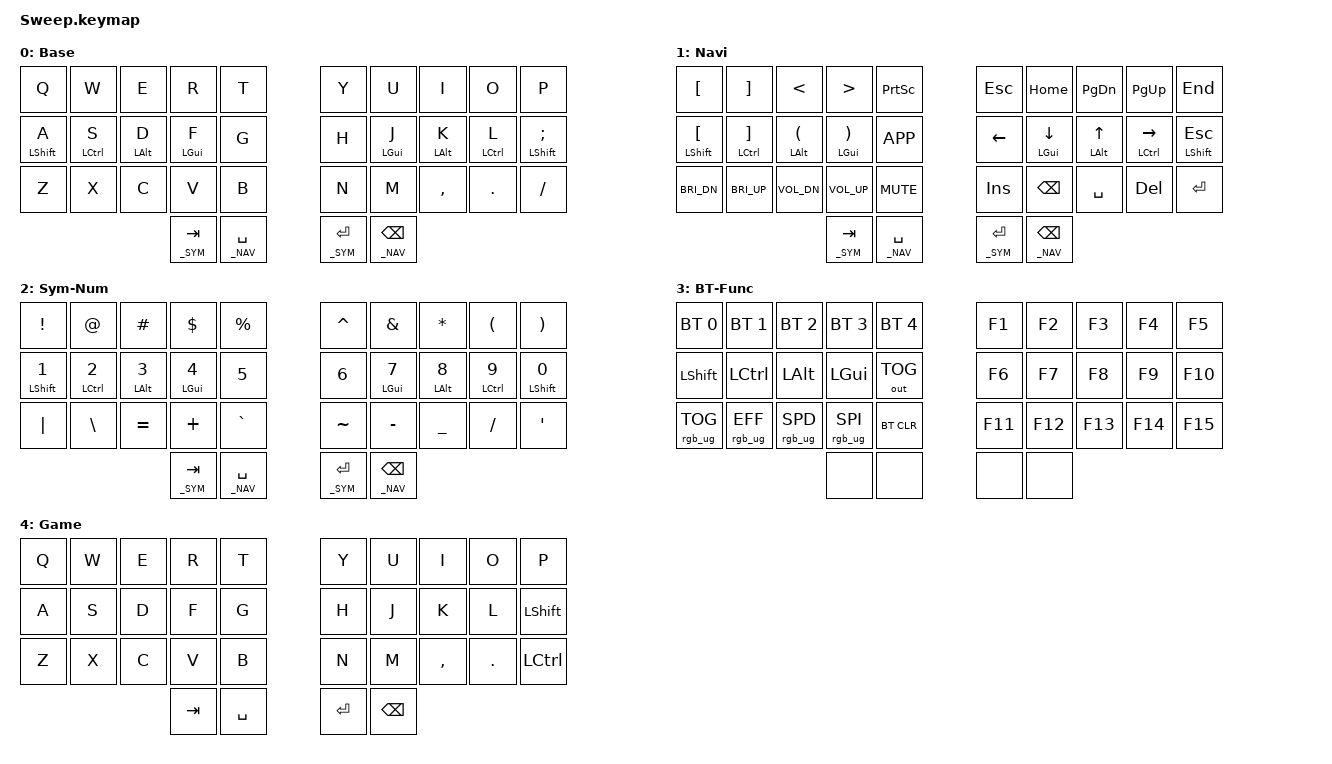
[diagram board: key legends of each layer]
/*
 * Copyright (c) 2021 The ZMK Contributors
 *
 * SPDX-License-Identifier: MIT
 */

#include <behaviors.dtsi>
#include <dt-bindings/zmk/keys.h>
#include <dt-bindings/zmk/bt.h>
#include <dt-bindings/zmk/rgb.h>
#include <dt-bindings/zmk/outputs.h>
#include "keypos_34keys.h"

#define _BASE    0
#define _NAV     1
#define _SYM     2
#define _BTF     3
#define _GAME    4

#define RGB_BASE RGB_COLOR_HSB(0,100,4)
#define RGB_SYM RGB_COLOR_HSB(40,100,4)
#define RGB_NAV RGB_COLOR_HSB(130,100,5)
#define RGB_BTF RGB_COLOR_HSB(230,100,5)
#define RGB_GAME RGB_COLOR_HSB(80,180, 40)

&sk {
    quick-release;
};

/ {
// ------------------------- MACROS --------------------------------
    macros {
        to_BASE: to_BASE {
            compatible = "zmk,behavior-macro";
            #binding-cells = <0>;
            wait-ms = <0>;
            tap-ms = <0>;
            bindings
                = <&rgb_ug RGB_OFF>
                , <&to _BASE>
                ;
        };

        to_NAV: to_NAV {
            compatible = "zmk,behavior-macro";
            #binding-cells = <0>;
            wait-ms = <0>;
            tap-ms = <0>;
            bindings
                = <&rgb_ug RGB_ON>
                , <&rgb_ug RGB_NAV>
                , <&to _NAV>
                ;
        };

        to_GAME: to_GAME {
            compatible = "zmk,behavior-macro";
            #binding-cells = <0>;
            wait-ms = <0>;
            tap-ms = <0>;
            bindings
                = <&rgb_ug RGB_ON>
                , <&rgb_ug RGB_GAME>
                , <&to _GAME>
                ;
        };

        mo_BTF: mo_BTF {
            compatible = "zmk,behavior-macro";
            #binding-cells = <0>;
            wait-ms = <0>;
            tap-ms = <0>;
            bindings
                = <&macro_tap &rgb_ug RGB_ON>
                , <&macro_tap &rgb_ug RGB_BTF>
                , <&macro_press &mo _BTF>
                , <&macro_pause_for_release>
                , <&macro_tap &rgb_ug RGB_OFF>
                , <&macro_release &mo _BTF>
                ;
        };

        to_BOOT: to_BOOT {
            compatible = "zmk,behavior-macro";
            #binding-cells = <0>;
            bindings
                = <&rgb_ug RGB_COLOR_HSB(0,100,50)>
                , <&rgb_ug RGB_ON>
                , <&bootloader>
                ;
        };
    };

    combos {
        compatible = "zmk,combos";
// ------------------------- LAYER COMBOS --------------------------------
        combo_BTF1 {
            timeout-ms = <50>;
            key-positions = <LHI RHI>;
            bindings = <&mo_BTF>;
            layers = <_BASE _SYM _NAV>;
        };

        combo_BTF2 {
            timeout-ms = <50>;
            key-positions = <LHI LHO>;
            bindings = <&mo_BTF>;
            layers = <_BASE _SYM _NAV>;
        };

        combo_BTF3 {
            timeout-ms = <50>;
            key-positions = <RHO RHI>;
            bindings = <&mo_BTF>;
            layers = <_BASE _SYM _NAV>;
        };

        combo_NAVR {
            timeout-ms = <50>;
            key-positions = <RMR RMM RMI>;
            bindings = <&to_NAV>;
            layers = <_BASE>;
        };

        combo_GAME {
            timeout-ms = <50>;
            key-positions = <LMR LMM LMI>;
            bindings = <&to_GAME>;
            layers = <_BASE>;
        };

        combo_BASER {
            timeout-ms = <50>;
            key-positions = <RMR RMM RMI>;
            bindings = <&to_BASE>;
            layers = <_NAV _GAME>;
        };

        combo_BASEL {
            timeout-ms = <50>;
            key-positions = <LMR LMM LMI>;
            bindings = <&to_BASE>;
            layers = <_NAV _GAME>;
        };

// ------------------------- UTILITY COMBOS --------------------------------
        combo_BOOT {
            timeout-ms = <50>;
            key-positions = <LBP LHI LHO>;
            bindings = <&to_BOOT>;
        };

        combo_UNLCK {
            timeout-ms = <200>;
            key-positions = <LTC LBC RTC RBC>;
            bindings = <&studio_unlock>;
            layers = <_BASE>;
            require-prior-idle-ms = <200>;
        };

// ------------------------- MODS COMBOS --------------------------------
        combo_CAPS {
            timeout-ms = <60>;
            key-positions = <LMP RMP>;
            bindings = <&caps_word>;
            require-prior-idle-ms = <200>;
            layers = <_BASE>;
        };

      combo_ESC {
            timeout-ms = <40>;
            key-positions = <LTR LTP>;
            bindings = <&kp ESC>;
            layers = <_BASE _SYM>;
        };

        combo_BSPC {
            timeout-ms = <40>;
            key-positions = <RTP RTR>;
            bindings = <&kp BSPC>;
            layers = <_BASE _SYM>;
        };

    };

    behaviors {
// ------------------------- HOLD-TAPS --------------------------------
        /* left-hand HRMs */
        hml: hrm_left {
            compatible = "zmk,behavior-hold-tap";
            #binding-cells = <2>;
            flavor = "balanced";
            tapping-term-ms = <250>;
            quick-tap-ms = <150>;                // repeat on tap-into-hold
            require-prior-idle-ms = <150>;
            bindings = <&kp>, <&kp>;
            hold-trigger-key-positions = <KEYS_R THUMBS>;
            hold-trigger-on-release;             // delay positional check until key-release
        };

        /* right-hand HRMs */
        hmr: hrm_right {
            compatible = "zmk,behavior-hold-tap";
            #binding-cells = <2>;
            flavor = "balanced";
            tapping-term-ms = <250>;
            quick-tap-ms = <150>;                // repeat on tap-into-hold
            require-prior-idle-ms = <150>;
            bindings = <&kp>, <&kp>;
            hold-trigger-key-positions = <KEYS_L THUMBS>;
            hold-trigger-on-release;             // delay positional check until key-release
        };

        tht: thumbs-tap {
            compatible = "zmk,behavior-hold-tap";
            #binding-cells = <2>;
            flavor = "balanced";
            tapping-term-ms = <200>;
            quick-tap-ms = <120>;
            require-prior-idle-ms = <100>;
            bindings = <&mo>, <&kp>;
        };

    };

    keymap {
        compatible = "zmk,keymap";

                base_layer {
                    display-name = "Base";
// -------------------------------    -------------------------------
// |  Q  |  W  |  E  |  R  |  T  |    |  Y  |  U  |  I  |  O  |  P  |
// |  A  |  S  |  D  |  F  |  G  |    |  H  |  J  |  K  |  L  |  ;  |
// |  Z  |  X  |  C  |  V  |  B  |    |  N  |  M  |  ,  |  .  |  '  |
//       | _SYM(ESC) | _NAV(SPC) |    | _SYM(BSPC) | _NAV(RET) |
                        bindings = <
   &kp Q        &kp W        &kp E       &kp R       &kp T     &kp Y  &kp U       &kp I       &kp O        &kp P
   &hml LSHFT A &hml LCTRL S &hml LALT D &hml LGUI F &kp G     &kp H  &hmr LGUI J &hmr LALT K &hmr LCTRL L &hmr LSHFT SEMI
   &kp Z        &kp X        &kp C       &kp V       &kp B     &kp N  &kp M       &kp COMMA   &kp DOT      &kp SLASH
                            &tht _SYM TAB  &tht _NAV SPACE     &tht _SYM RET  &tht _NAV BSPC
                        >;
                };

                nav_layer {
                    display-name = "Navi";
// -------------------------------    -----------------------------------
// |  {  |  }  |  <  |  >  | PSC |    | ESC | HOME | PGDN | PGUP | END  |
// |  [  |  ]  |  (  |  )  | APP |    | TAB | LEFT | DOWN |  UP  | RGHT |
// | BR- | BR+ |  V- | V+  | V.  |    | INS | BSPC | SPC  | DEL  | RET  |
//       | _SYM(ESC) | _NAV(SPC) |    | _SYM(BSPC) | _NAV(RET) |
                        bindings = <
   &kp LBKT       &kp RBKT       &kp LT         &kp GT         &kp PSCRN     &kp ESC    &kp HOME       &kp PG_DN      &kp PG_UP     &kp END
   &hml LSHFT LBKT &hml LCTRL RBKT &hml LALT LPAR &hml LGUI RPAR &kp K_APP     &kp LEFT    &hmr LGUI DOWN &hmr LALT UP &hmr LCTRL RIGHT &hmr LSHFT ESC
   &kp C_BRI_DN    &kp C_BRI_UP    &kp C_VOL_DN   &kp C_VOL_UP   &kp C_MUTE    &kp INS    &kp BSPC       &kp SPACE      &kp DEL       &kp RET
                            &tht _SYM TAB  &tht _NAV SPACE     &tht _SYM RET  &tht _NAV BSPC
                        >;
                };

                sym_layer {
                    display-name = "Sym-Num";
// -------------------------------    -------------------------------
// |  !  |  @  |  #  |  $  |  %  |    |  ^  |  &  |  *  |  ?  |  :  |
// |  1  |  2  |  3  |  4  |  5  |    |  6  |  7  |  8  |  9  |  0  |
// |  |  |  \  |  =  |  +  |  `  |    |  ~  |  -  |  _  |  /  |  "  |
//       | _SYM(ESC) | _NAV(SPC) |    | _SYM(BSPC) | _NAV(RET) |
                        bindings = <
   &kp EXCL      &kp AT        &kp HASH     &kp DLLR     &kp PRCNT     &kp CARET &kp AMPS     &kp STAR     &kp LPAR     &kp RPAR
   &hml LSHFT N1 &hml LCTRL N2 &hml LALT N3 &hml LGUI N4 &kp N5        &kp N6    &hmr LGUI N7 &hmr LALT N8 &hmr LCTRL N9 &hmr LSHFT N0
   &kp PIPE      &kp BSLH      &kp EQUAL    &kp PLUS     &kp GRAVE     &kp TILDE &kp MINUS    &kp UNDER    &kp SLASH     &kp SQT
                            &tht _SYM TAB  &tht _NAV SPACE     &tht _SYM RET  &tht _NAV BSPC
                        >;
                };

                btf_layer {
                    display-name = "BT-Func";
// -----------------------------------    -------------------------------
// | BT1  | BT2  | BT3  | BT4  | BT5 |    | F1  | F2  | F3  | F4  | F5  |
// | SFT  | CTL  | ALT  | GUI  | USB |    | F6  | F7  | F8  | F9  | F10 |
// | uTOG | uEFF | uSP- | uSP+ | CLR |    | F11 | F12 | F13 | F14 | F15 |
//                       |     |     |    |    |     |
                        bindings = <
   &bt BT_SEL 0    &bt BT_SEL 1    &bt BT_SEL 2    &bt BT_SEL 3    &bt BT_SEL 4   &kp F1  &kp F2  &kp F3  &kp F4  &kp F5
   &kp LSHIFT      &kp LCTRL       &kp LALT        &kp LGUI        &out OUT_TOG   &kp F6  &kp F7  &kp F8  &kp F9  &kp F10
   &rgb_ug RGB_TOG &rgb_ug RGB_EFF &rgb_ug RGB_SPD &rgb_ug RGB_SPI &bt BT_CLR     &kp F11 &kp F12 &kp F13 &kp F14 &kp F15
                                                            &none   &none         &none  &none
                        >;
                };

                game_layer {
                    display-name = "Game";
// -------------------------------    -------------------------------
// |  Q  |  W  |  E  |  R  |  T  |    |  Y  |  U  |  I  |  O  |  P  |
// |  A  |  S  |  D  |  F  |  G  |    |  H  |  J  |  K  |  L  |  ;  |
// |  Z  |  X  |  C  |  V  |  B  |    |  N  |  M  |  ,  |  .  |  '  |
//       | _SYM(ESC) | _NAV(SPC) |    | _SYM(BSPC) | _NAV(RET) |
                        bindings = <
   &kp Q        &kp W        &kp E       &kp R       &kp T     &kp Y  &kp U       &kp I       &kp O        &kp P
   &kp A        &kp S        &kp D       &kp F       &kp G     &kp H  &kp J       &kp K       &kp L        &kp LSHIFT
   &kp Z        &kp X        &kp C       &kp V       &kp B     &kp N  &kp M       &kp COMMA   &kp DOT      &kp LCTRL
                                          &kp TAB   &kp SPACE   &kp RET   &kp BSPC
                        >;
                };
    };
};
